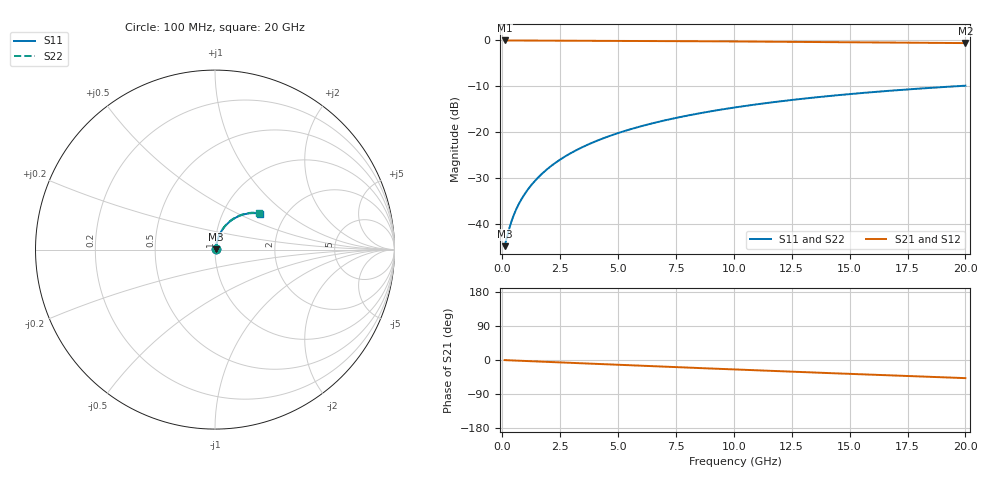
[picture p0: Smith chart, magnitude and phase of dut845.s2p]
! Touchstone file exported from HFSS 2026.1.0
!  File:  C:/ffzhzh/LocalFiles/Ansys_Project_Files/temp_train_BSMRDL_845_1783170470_51560.aedt
!  Generated:  09:09:02 PM Jul  4, 2026
!  Design:  BSMRDL
!  Project:  temp_train_BSMRDL_845_1783170470_51560
! Variables:
!  h_bsmrdl = 2.92um
!  h_ox = 20um
!  h_rdl = 5um
!  h_sub = 80um
!  h_tmrdl = 5um
!  h_tsv = 80um
!  h_via = 3um
!  l_bsmrdl = 781.42um
!  l_sub = 1181.42um
!  l_tmrdl = 200um
!  m_sub = 200um
!  pitch = 32.24um
!  r_tsv = 6um
!  s_tmrdl = 10um
!  w_bsmrdl = 19um
!  w_sub = 500um
!  w_tmrdl = 12um
!  x_tsv_center1 = 206um
!  x_tsv_center2 = 1006.42um
!  x_tsv_center3 = 1218.42um
!  x_tsv_center4 = 2018.84um
!  x_tsv_center5 = 2230.84um
!  x_tsv_center6 = 3031.26um
# GHz S MA R 50.000000
! Terminal data exported
! Port[1] = BSM_RDL1_1_T1
! Port[2] = BSM_RDL1_1_T2
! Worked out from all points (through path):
!   200 points, 100 MHz to 20 GHz, reference 50 ohm
!   highest |S21| = -0.04 dB at 100 MHz (marker M1); lowest = -0.6 dB at 20 GHz (marker M2)
!   group delay of S21, straight-line fit = 6.64 ps
!   lowest |S11| = -44.9 dB at 100 MHz (marker M3), VSWR 1.01, Z = 50.5 + j0.236 ohm
!   |S11| at or under -10 dB: start of sweep to 19.72 GHz
!   |S22| runs from -44.9 to -9.9 dB; largest |S21 - S12| = 4.2e-15
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0.1  0.005672 24.3  0.9948 -0.3  0.9948 -0.3  0.005672 24.3
! Gamma 0 0 0 0
! Port Impedance 50 0 50 0
0.3  0.008827 49.7  0.9944 -0.8  0.9944 -0.8  0.008826 49.7
0.4  0.01065 55.5  0.9941 -1.1  0.9941 -1.1  0.01065 55.5
0.5  0.01248 59.4  0.9938 -1.3  0.9938 -1.3  0.01247 59.4
0.6  0.0143 62.3  0.9936 -1.6  0.9936 -1.6  0.01429 62.3
0.7  0.01612 64.5  0.9934 -1.8  0.9934 -1.8  0.01611 64.6
0.9  0.01977 67.8  0.9931 -2.3  0.9931 -2.3  0.01976 67.9
1.2  0.02532 71.0  0.9928 -3.1  0.9928 -3.1  0.02531 71.0
1.4  0.02906 72.3  0.9926 -3.6  0.9926 -3.6  0.02905 72.4
1.7  0.03472 73.7  0.9923 -4.4  0.9923 -4.4  0.03471 73.7
2.2  0.04422 74.7  0.9917 -5.6  0.9917 -5.6  0.04421 74.8
2.8  0.05567 74.9  0.9908 -7.1  0.9908 -7.1  0.05566 75.0
3.5  0.06899 74.4  0.9896 -8.9  0.9896 -8.9  0.06897 74.5
4.2  0.0822 73.4  0.9883 -10.6  0.9883 -10.6  0.08219 73.6
5  0.09713 72.0  0.9864 -12.6  0.9864 -12.6  0.09711 72.2
5.9  0.1136 70.2  0.9841 -14.9  0.9841 -14.9  0.1136 70.5
6.8  0.1298 68.3  0.9815 -17.1  0.9815 -17.1  0.1298 68.6
8.3  0.156 65.0  0.9766 -20.8  0.9766 -20.8  0.1559 65.3
10.1  0.1859 60.9  0.9702 -25.1  0.9702 -25.1  0.1858 61.3
13.4  0.2363 53.4  0.9574 -32.9  0.9574 -32.9  0.2362 54.0
16.7  0.2808 46.1  0.9441 -40.5  0.9441 -40.5  0.2807 46.8
20  0.3193 38.9  0.931 -47.8  0.931 -47.8  0.3191 39.7
